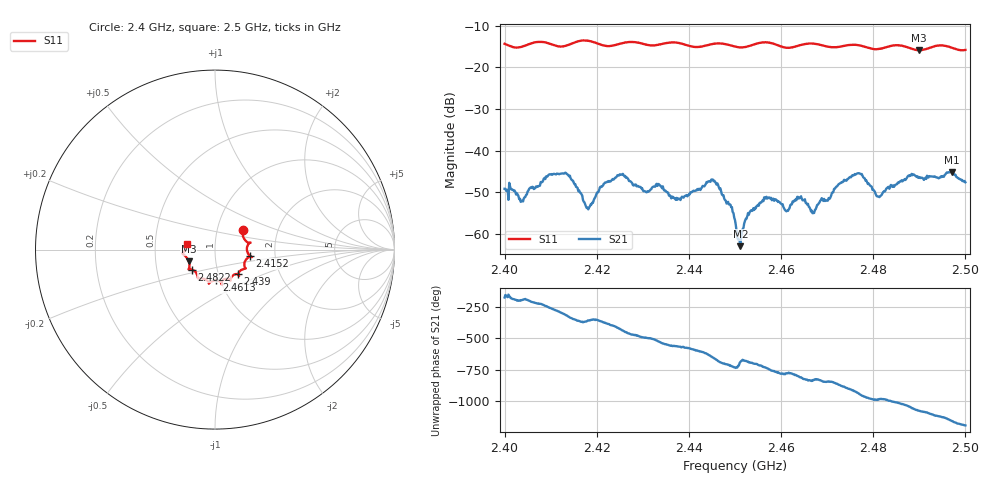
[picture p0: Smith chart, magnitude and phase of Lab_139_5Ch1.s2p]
# Hz S RI R 50
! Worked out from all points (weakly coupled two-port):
!   601 points, 2.4 GHz to 2.5 GHz, reference 50 ohm
!   highest |S21| = -45.18 dB at 2.497 GHz (marker M1); lowest = -63.0 dB at 2.4512 GHz (marker M2)
!   lowest |S11| = -15.9 dB at 2.4898 GHz (marker M3), VSWR 1.38, Z = 37 - j5.02 ohm
!   |S11| at or under -10 dB: start of sweep to end of sweep
!   S12 and S22 are empty: the file has one direction only
!   S11 on the Smith chart (normalised r, x): 2.4 GHz: 1.33, +0.31; 2.4152 GHz: 1.48, -0.11; 2.439 GHz: 1.24, -0.35; 2.4613 GHz: 0.96, -0.34; 2.4822 GHz: 0.76, -0.17; 2.5 GHz: 0.73, +0.05
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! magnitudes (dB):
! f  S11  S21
! 2.4 GHz  -14.4  -49.2
! 2.4037 GHz  -15.1  -52.1
! 2.41 GHz  -14.4  -45.7
! 2.4152 GHz  -14.1  -48.1
! 2.4167 GHz  -13.6  -50.5
! 2.4183 GHz  -13.7  -53.6
! 2.4252 GHz  -14.3  -45.8
! 2.4333 GHz  -14.6  -48.0
! 2.439 GHz  -14.5  -51.0
! 2.4453 GHz  -14.4  -47.4
! 2.45 GHz  -15.0  -56.7
! 2.4512 GHz  -15.2  -63.0
! 2.4565 GHz  -14.0  -51.3
! 2.4613 GHz  -15.3  -54.4
! 2.464 GHz  -14.7  -51.3
! 2.4667 GHz  -14.3  -54.4
! 2.4765 GHz  -14.7  -45.5
! 2.4822 GHz  -15.4  -50.0
! 2.4833 GHz  -15.0  -48.7
! 2.4898 GHz  -15.9  -46.3
! 2.497 GHz  -15.3  -45.2
! 2.5 GHz  -15.8  -47.6
